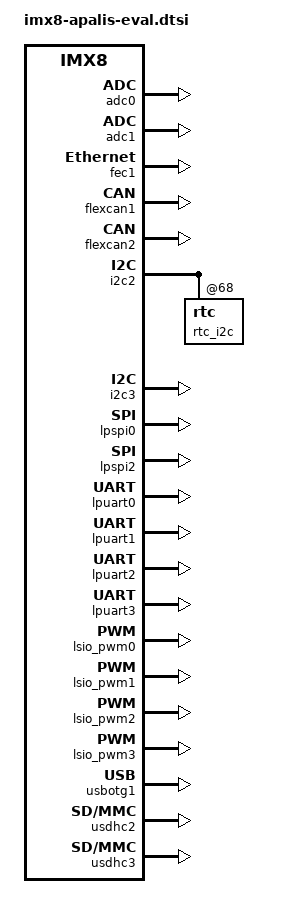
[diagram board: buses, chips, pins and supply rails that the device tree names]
/ {
	aliases {
		rtc0 = &rtc_i2c;
		rtc1 = &rtc;
	};
	reg_usb_host_vbus: regulator-usb-host-vbus {
		regulator-name = "VCC USBH2(ABCD) / USBH(3|4)";
	};
};
&adc0 {
	status = "okay";
};
&adc1 {
	status = "okay";
};
&fec1 {
	status = "okay";
};
&flexcan1 {
	status = "okay";
};
&flexcan2 {
	status = "okay";
};
&i2c2 {
	status = "okay";
	rtc_i2c: rtc@68 {
		status = "okay";
	};
};
&i2c3 {
	status = "okay";
};
&lpspi0 {
	status = "okay";
};
&lpspi2 {
	status = "okay";
};
&lpuart0 {
	status = "okay";
};
&lpuart1 {
	status = "okay";
};
&lpuart2 {
	status = "okay";
};
&lpuart3 {
	status = "okay";
};
&lsio_pwm0 {
	status = "okay";
};
&lsio_pwm1 {
	status = "okay";
};
&lsio_pwm2 {
	status = "okay";
};
&lsio_pwm3 {
	status = "okay";
};
&usbotg1 {
	status = "okay";
};
&usdhc2 {
	status = "okay";
};
&usdhc3 {
	status = "okay";
};
